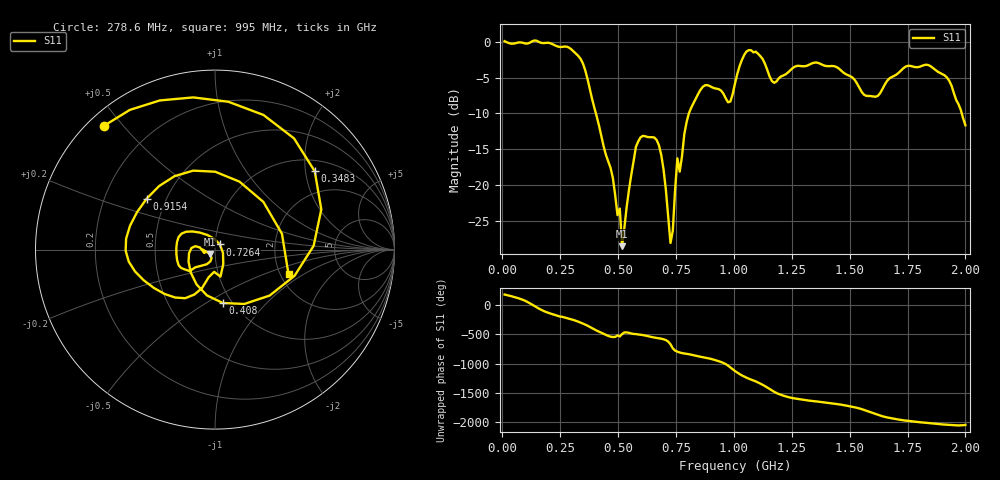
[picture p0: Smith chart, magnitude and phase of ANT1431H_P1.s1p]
!Created with skrf (http://scikit-rf.org).
# Hz S RI R 50.0
!freq ReS11 ImS11
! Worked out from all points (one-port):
!   201 points, 10 MHz to 2 GHz, reference 50 ohm
!   lowest |S11| = -28.6 dB at 517.5 MHz (marker M1), VSWR 1.08, Z = 47.2 - j2.33 ohm
!   |S11| at or under -10 dB: 404.3 MHz to 805.7 MHz (401.4 MHz wide, 66.3 % of centre); 1.984 GHz to end of sweep
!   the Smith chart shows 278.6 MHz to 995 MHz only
!   S11 on the Smith chart (normalised r, x): 278.6 MHz: 0.05, +0.45; 348.3 MHz: 1.29, +2.25; 408 MHz: 0.91, -0.59; 726.4 MHz: 1.05, +0.06; 915.5 MHz: 0.39, +0.29; 995 MHz: 2.21, -0.75
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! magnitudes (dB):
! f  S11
! 10 MHz  0.1
! 258.8 MHz  -0.7
! 278.6 MHz  -0.7
! 348.3 MHz  -3.0
! 408 MHz  -10.4
! 497.6 MHz  -24.2
! 507.5 MHz  -23.3
! 517.5 MHz  -28.6
! 577.1 MHz  -14.7
! 607 MHz  -13.1
! 676.6 MHz  -14.5
! 726.4 MHz  -28.1
! 736.4 MHz  -26.4
! 756.2 MHz  -16.3
! 766.2 MHz  -18.1
! 796 MHz  -11.2
! 845.8 MHz  -7.3
! 915.5 MHz  -6.5
! 995 MHz  -7.3
! 1.005 GHz  -5.8
! 1.065 GHz  -1.2
! 1.174 GHz  -5.7
! 1.254 GHz  -3.7
! 1.502 GHz  -4.8
! 1.612 GHz  -7.7
! 1.751 GHz  -3.3
! 1.92 GHz  -5.0
! 2 GHz  -11.6
